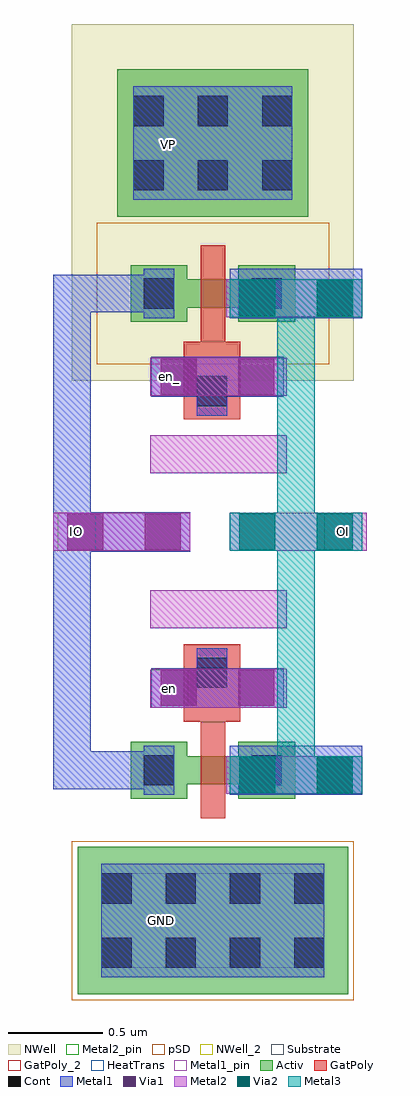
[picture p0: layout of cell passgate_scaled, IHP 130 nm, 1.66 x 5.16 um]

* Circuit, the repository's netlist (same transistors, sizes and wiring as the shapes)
** sch_path: /foss/designs/CHIP-PLL/schematics/divider/schematics/passgate_scaled.sch
.subckt passgate_scaled en_ VP GND en IO OI
*.PININFO OI:B IO:B VP:B GND:B en_:I en:I
MM1 IO en OI GND sg13_lv_nmos w=0.15u l=0.13u ng=1
MM2 IO en_ OI VP sg13_lv_pmos w=0.15u l=0.13u ng=1
.ends

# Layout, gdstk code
from math import pi, radians
import gdstk
lib = gdstk.Library(unit=1e-6, precision=1e-09)
def R(c, l, rs):  # rectangles x0, y0, x1, y1
    for r in rs: c.add(gdstk.rectangle(r[:2], r[2:], *l))
def A(c, l, x, y, w, h, nx, ny, dx, dy):  # array of equal rectangles
    R(c, l, [(x+i*dx, y+j*dy, x+i*dx+w, y+j*dy+h) for i in range(nx) for j in range(ny)])
Activ = (1, 0)
GatPoly = (5, 0)
GatPoly_2 = (5, 2)
Cont = (6, 0)
Metal1 = (8, 0)
Metal1_pin = (8, 2)
Metal2 = (10, 0)
Metal2_pin = (10, 2)
pSD = (14, 0)
Via1 = (19, 0)
Via2 = (29, 0)
Metal3 = (30, 0)
NWell = (31, 0)
NWell_2 = (31, 2)
Substrate = (40, 0)
HeatTrans = (51, 0)

via = lib.new_cell('Via')
R(via, Metal2, [(-0.35,-0.1,0.35,0.1)])
R(via, Via2, [(-0.3,-0.095,-0.11,0.095), (0.11,-0.095,0.3,0.095)])
R(via, Metal3, [(-0.35,-0.1,0.35,0.1)])

ntap1 = lib.new_cell('ntap1')
R(ntap1, Activ, [(0,0,1.01,0.78)])
A(ntap1, Cont, 0.085, 0.14, 0.16, 0.16, 3, 2, 0.34, 0.34)
R(ntap1, Metal1, [(0.085,0.09,0.925,0.69)])
R(ntap1, Metal1_pin, [(0.085,0.09,0.925,0.69), (0.085,0.14,0.925,0.64)])
R(ntap1, NWell, [(-0.24,-0.24,1.25,1.02), (0,0,1.01,0.78)])
R(ntap1, NWell_2, [(0,0,1.01,0.78)])
ntap1.add(gdstk.Label('well', (0.505,0.01), layer=63, texttype=0))
ntap1.add(gdstk.Label('well', (0.505,0.01), layer=31, texttype=0))

ptap1 = lib.new_cell('ptap1')
R(ptap1, Activ, [(0,0,1.43,0.78)])
A(ptap1, Cont, 0.125, 0.14, 0.16, 0.16, 4, 2, 0.34, 0.34)
R(ptap1, Metal1, [(0.125,0.09,1.305,0.69), (0.125,0.14,1.305,0.64)])
R(ptap1, Metal1_pin, [(0.125,0.14,1.305,0.64)])
R(ptap1, pSD, [(-0.03,-0.03,1.46,0.81)])
R(ptap1, Substrate, [(0,0,1.43,0.78)])
ptap1.add(gdstk.Label('sub!', (0.715,0.01), layer=63, texttype=0))
ptap1.add(gdstk.Label('sub!', (0.715,0.01), layer=40, texttype=0))

via_10 = lib.new_cell('Via$10')
R(via_10, Metal1, [(-0.35,-0.105,0.35,0.105)])
R(via_10, Metal2, [(-0.35,-0.1,0.35,0.1)])
R(via_10, Via1, [(-0.3,-0.095,-0.11,0.095), (0.11,-0.095,0.3,0.095)])

nmos = lib.new_cell('nmos')
R(nmos, Activ, [(0,0,0.3,0.3), (0.57,0,0.87,0.3), (0,0.075,0.87,0.225)])
R(nmos, GatPoly, [(0.37,-0.105,0.5,0.405)])
R(nmos, GatPoly_2, [(0.37,-0.105,0.5,0.405)])
R(nmos, Cont, [(0.07,0.07,0.23,0.23), (0.64,0.07,0.8,0.23)])
R(nmos, Metal1, [(0.07,0.02,0.23,0.28), (0.64,0.02,0.8,0.28)])
R(nmos, Metal1_pin, [(0.07,0.02,0.23,0.28), (0.64,0.02,0.8,0.28)])
R(nmos, HeatTrans, [(0.37,-0.105,0.5,0.405)])
nmos.add(gdstk.Label('nmos', (0.435,0.15), layer=63, texttype=0))
nmos.add(gdstk.Label('nmos', (0.435,0.15), layer=51, texttype=0))

pmos = lib.new_cell('pmos')
R(pmos, Activ, [(0,0,0.3,0.3), (0.57,0,0.87,0.3), (0,0.075,0.87,0.225)])
R(pmos, GatPoly, [(0.37,-0.105,0.5,0.405), (0.37,-0.105,0.5,0.405)])
R(pmos, Cont, [(0.07,0.07,0.23,0.23), (0.64,0.07,0.8,0.23)])
R(pmos, Metal1, [(0.07,0.02,0.23,0.28), (0.07,0.02,0.23,0.28), (0.64,0.02,0.8,0.28), (0.64,0.02,0.8,0.28)])
R(pmos, pSD, [(-0.18,-0.225,1.05,0.525)])
R(pmos, NWell, [(-0.31,-0.31,1.18,0.61)])
R(pmos, Substrate, [(0.57,0,0.87,0.3)])
R(pmos, HeatTrans, [(0.37,-0.105,0.5,0.405)])
pmos.add(gdstk.Label('pmos', (0.435,0.15), layer=63, texttype=0))
pmos.add(gdstk.Label('pmos', (0.435,0.15), layer=51, texttype=0))

via_12 = lib.new_cell('Via$12')
R(via_12, GatPoly, [(-0.15,-0.15,0.15,0.15)])
R(via_12, Cont, [(-0.08,-0.08,0.08,0.08)])
R(via_12, Metal1, [(-0.13,-0.08,0.13,0.08)])

passgate_scaled = lib.new_cell('passgate_scaled')
R(passgate_scaled, GatPoly, [(9.375,7.165,9.675,7.275), (9.375,9.065,9.675,9.175)])
R(passgate_scaled, Metal1, [(9.62,6.78,10.32,7.04), (9.62,9.3,10.32,9.56)])
R(passgate_scaled, Metal1_pin, [(9.16,6.015,9.36,6.215), (9.325,10.12,9.525,10.32)])
R(passgate_scaled, Metal2_pin, [(9.2,7.24,9.4,7.44), (8.71,8.07,8.91,8.27), (10.12,8.07,10.32,8.27), (9.2,8.89,9.4,9.09)])
passgate_scaled.add(gdstk.FlexPath([(9.105,9.43),(8.785,9.43),(8.785,6.91),(9.105,6.91)], 0.2, ends="flush", simple_path=True, layer=8, datatype=0))  # Metal1
passgate_scaled.add(gdstk.FlexPath([(9.045,6.91),(9.225,6.91)], 0.2, ends="flush", simple_path=True, layer=8, datatype=0))  # Metal1
passgate_scaled.add(gdstk.FlexPath([(8.995,9.43),(9.245,9.43)], 0.2, ends="flush", simple_path=True, layer=8, datatype=0))  # Metal1
passgate_scaled.add(gdstk.FlexPath([(10.32,8.17),(9.62,8.17)], 0.2, ends="flush", simple_path=True, layer=10, datatype=0))  # Metal2
passgate_scaled.add(gdstk.FlexPath([(9.765,9.405),(9.6,9.405)], 0.2, ends="flush", simple_path=True, layer=10, datatype=0))  # Metal2
passgate_scaled.add(gdstk.FlexPath([(9.765,6.885),(9.6,6.885)], 0.2, ends="flush", simple_path=True, layer=10, datatype=0))  # Metal2
passgate_scaled.add(gdstk.FlexPath([(9.41,8.17),(8.71,8.17)], 0.2, ends="flush", simple_path=True, layer=10, datatype=0))  # Metal2
passgate_scaled.add(gdstk.FlexPath([(9.35,7.345),(9.92,7.345)], 0.2, ends="flush", simple_path=True, layer=10, datatype=0))  # Metal2
passgate_scaled.add(gdstk.FlexPath([(10.22,8.17),(10.345,8.17)], 0.2, ends="flush", simple_path=True, layer=10, datatype=0))  # Metal2
passgate_scaled.add(gdstk.FlexPath([(8.81,8.17),(8.685,8.17)], 0.2, ends="flush", simple_path=True, layer=10, datatype=0))  # Metal2
passgate_scaled.add(gdstk.FlexPath([(9.2,7.34),(9.92,7.34)], 0.2, ends="flush", simple_path=True, layer=10, datatype=0))  # Metal2
passgate_scaled.add(gdstk.FlexPath([(9.2,8.99),(9.92,8.99)], 0.2, ends="flush", simple_path=True, layer=10, datatype=0))  # Metal2
passgate_scaled.add(gdstk.FlexPath([(9.2,8.58),(9.92,8.58)], 0.2, ends="flush", simple_path=True, layer=10, datatype=0))  # Metal2
passgate_scaled.add(gdstk.FlexPath([(9.2,7.76),(9.92,7.76)], 0.2, ends="flush", simple_path=True, layer=10, datatype=0))  # Metal2
passgate_scaled.add(gdstk.FlexPath([(9.97,6.885),(9.97,8.17)], 0.2, ends="flush", simple_path=True, layer=30, datatype=0))  # Metal3
passgate_scaled.add(gdstk.FlexPath([(9.97,9.405),(9.97,8.17)], 0.2, ends="flush", simple_path=True, layer=30, datatype=0))  # Metal3
passgate_scaled.add(gdstk.Reference(via, (9.97,6.885)))
passgate_scaled.add(gdstk.Reference(ntap1, (9.025,9.835)))
passgate_scaled.add(gdstk.Reference(ptap1, (8.815,5.725)))
passgate_scaled.add(gdstk.Reference(via_10, (9.97,6.885), rotation=pi))
passgate_scaled.add(gdstk.Reference(nmos, (9.095,6.76)))
passgate_scaled.add(gdstk.Reference(pmos, (9.095,9.28)))
passgate_scaled.add(gdstk.Reference(via_12, (9.525,8.915), rotation=pi/2))
passgate_scaled.add(gdstk.Reference(via_12, (9.525,7.425), rotation=3*pi/2))
passgate_scaled.add(gdstk.Reference(via, (9.97,9.405)))
passgate_scaled.add(gdstk.Reference(via_10, (9.555,8.99), rotation=pi))
passgate_scaled.add(gdstk.Reference(via_10, (9.97,9.405), rotation=pi))
passgate_scaled.add(gdstk.Reference(via, (9.97,8.17)))
passgate_scaled.add(gdstk.Reference(via_10, (9.555,7.345)))
passgate_scaled.add(gdstk.Reference(via_10, (9.06,8.17)))
passgate_scaled.add(gdstk.Label('OI', (10.22,8.17), layer=10, texttype=25))
passgate_scaled.add(gdstk.Label('IO', (8.81,8.17), layer=10, texttype=25))
passgate_scaled.add(gdstk.Label('en_', (9.3,8.99), layer=10, texttype=25))
passgate_scaled.add(gdstk.Label('en', (9.3,7.34), layer=10, texttype=25))
passgate_scaled.add(gdstk.Label('VP', (9.295,10.22), layer=8, texttype=25))
passgate_scaled.add(gdstk.Label('GND', (9.26,6.115), layer=8, texttype=25))

lib.write_gds('passgate_scaled.gds')
